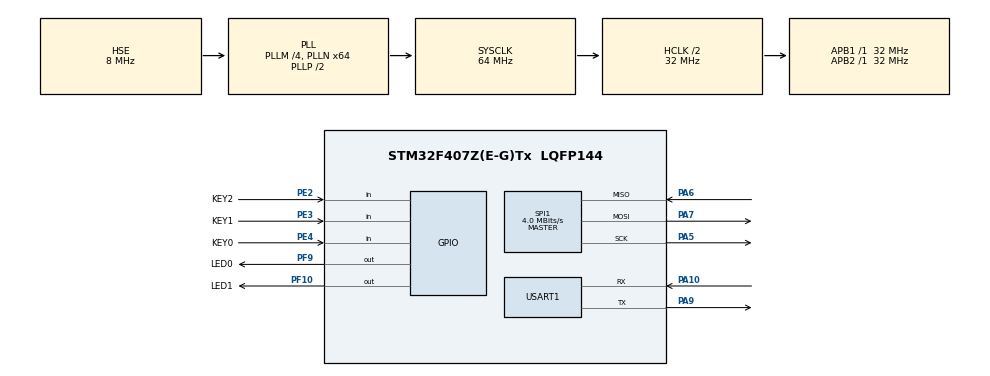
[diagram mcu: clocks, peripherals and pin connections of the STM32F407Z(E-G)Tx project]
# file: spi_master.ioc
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Dma.Request0=SPI1_TX
Dma.Request1=SPI1_RX
Dma.SPI1_RX.1.Direction=DMA_PERIPH_TO_MEMORY
Dma.SPI1_RX.1.FIFOMode=DMA_FIFOMODE_DISABLE
Dma.SPI1_RX.1.Instance=DMA2_Stream0
Dma.SPI1_RX.1.MemDataAlignment=DMA_MDATAALIGN_BYTE
Dma.SPI1_RX.1.MemInc=DMA_MINC_ENABLE
Dma.SPI1_RX.1.Mode=DMA_NORMAL
Dma.SPI1_RX.1.PeriphDataAlignment=DMA_PDATAALIGN_BYTE
Dma.SPI1_RX.1.PeriphInc=DMA_PINC_DISABLE
Dma.SPI1_RX.1.Priority=DMA_PRIORITY_LOW
Dma.SPI1_TX.0.Direction=DMA_MEMORY_TO_PERIPH
Dma.SPI1_TX.0.FIFOMode=DMA_FIFOMODE_DISABLE
Dma.SPI1_TX.0.Instance=DMA2_Stream3
Dma.SPI1_TX.0.MemDataAlignment=DMA_MDATAALIGN_BYTE
Dma.SPI1_TX.0.MemInc=DMA_MINC_ENABLE
Dma.SPI1_TX.0.Mode=DMA_NORMAL
Dma.SPI1_TX.0.PeriphDataAlignment=DMA_PDATAALIGN_BYTE
Dma.SPI1_TX.0.PeriphInc=DMA_PINC_DISABLE
Dma.SPI1_TX.0.Priority=DMA_PRIORITY_LOW
Mcu.Family=STM32F4
Mcu.Name=STM32F407Z(E-G)Tx
Mcu.Package=LQFP144
NVIC.DMA2_Stream0_IRQn=true\:0\:0\:false\:false\:true\:false\:true\:true
NVIC.DMA2_Stream3_IRQn=true\:0\:0\:false\:false\:true\:false\:true\:true
NVIC.PriorityGroup=NVIC_PRIORITYGROUP_4
PA10.Mode=Asynchronous
PA10.Signal=USART1_RX
PA13.Mode=Serial_Wire
PA13.Signal=SYS_JTMS-SWDIO
PA14.Mode=Serial_Wire
PA14.Signal=SYS_JTCK-SWCLK
PA5.Mode=Full_Duplex_Master
PA5.Signal=SPI1_SCK
PA6.Mode=Full_Duplex_Master
PA6.Signal=SPI1_MISO
PA7.Mode=Full_Duplex_Master
PA7.Signal=SPI1_MOSI
PA9.Mode=Asynchronous
PA9.Signal=USART1_TX
PE2.GPIO_Label=KEY2
PE2.GPIO_PuPd=GPIO_PULLUP
PE2.Signal=GPIO_Input
PE3.GPIO_Label=KEY1
PE3.GPIO_PuPd=GPIO_PULLUP
PE3.Signal=GPIO_Input
PE4.GPIO_Label=KEY0
PE4.GPIO_PuPd=GPIO_PULLUP
PE4.Signal=GPIO_Input
PF10.GPIO_Label=LED1
PF10.GPIO_PuPd=GPIO_PULLUP
PF10.PinState=GPIO_PIN_SET
PF10.Signal=GPIO_Output
PF9.GPIO_Label=LED0
PF9.GPIO_PuPd=GPIO_PULLUP
PF9.PinState=GPIO_PIN_SET
PF9.Signal=GPIO_Output
PH0-OSC_IN.Mode=HSE-External-Oscillator
PH0-OSC_IN.Signal=RCC_OSC_IN
PH1-OSC_OUT.Mode=HSE-External-Oscillator
PH1-OSC_OUT.Signal=RCC_OSC_OUT
ProjectManager.HeapSize=0x200
ProjectManager.StackSize=0x400
ProjectManager.TargetToolchain=EWARM V7
RCC.48MHZClocksFreq_Value=32000000
RCC.AHBCLKDivider=RCC_SYSCLK_DIV2
RCC.AHBFreq_Value=32000000
RCC.APB1Freq_Value=32000000
RCC.APB1TimFreq_Value=32000000
RCC.APB2Freq_Value=32000000
RCC.APB2TimFreq_Value=32000000
RCC.CortexFreq_Value=32000000
RCC.HCLKFreq_Value=32000000
RCC.HSE_VALUE=8000000
RCC.HSI_VALUE=16000000
RCC.LSE_VALUE=32768
RCC.PLLM=4
RCC.PLLN=64
RCC.PLLSourceVirtual=RCC_PLLSOURCE_HSE
RCC.SYSCLKFreq_VALUE=64000000
RCC.SYSCLKSource=RCC_SYSCLKSOURCE_PLLCLK
RCC.VCOOutputFreq_Value=128000000
SPI1.BaudRatePrescaler=SPI_BAUDRATEPRESCALER_8
SPI1.CalculateBaudRate=4.0 MBits/s
SPI1.Direction=SPI_DIRECTION_2LINES
SPI1.Mode=SPI_MODE_MASTER
SPI1.VirtualType=VM_MASTER
USART1.VirtualMode=VM_ASYNC
board=custom

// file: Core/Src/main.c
/* USER CODE BEGIN Header */
/**
  ******************************************************************************
  * @file           : main.c
  * @brief          : Main program body
  ******************************************************************************
  * @attention
  *
  * Copyright (c) 2026 STMicroelectronics.
  * All rights reserved.
  *
  * This software is licensed under terms that can be found in the LICENSE file
  * in the root directory of this software component.
  * If no LICENSE file comes with this software, it is provided AS-IS.
  *
  ******************************************************************************
  */
/* USER CODE END Header */
#include "main.h"
#include "dma.h"
#include "spi.h"
#include "usart.h"
#include "gpio.h"

/* USER CODE BEGIN Includes */
#include <stdio.h>
#include <string.h>
#include <stdlib.h>
#include "radio_hw_spi.h"
/* USER CODE END Includes */

/* USER CODE BEGIN PD */
#define ARM_CMD_IRQ_BIT   0x80000000U  /* write '1' to arm_cmd_0 bit31 -> pulse spi_mailbox_irq */
#define CONSOLE_LINE_MAX  32U
/* USER CODE END PD */

void SystemClock_Config(void);
/* USER CODE BEGIN PFP */
void radio_hw_console_poll(void);
/* USER CODE END PFP */

/* USER CODE BEGIN 0 */

/* Retarget printf to USART1 (PA9/PA10, 115200).
   - newlib (GCC / STM32CubeIDE): syscalls.c _write() calls __io_putchar().
   - IAR DLib: printf() calls __write(). */
int __io_putchar(int ch)
{
  HAL_UART_Transmit(&huart1, (uint8_t *)&ch, 1U, HAL_MAX_DELAY);
  return ch;
}

int __io_getchar(void)
{
  uint8_t ch = 0U;
  HAL_UART_Receive(&huart1, &ch, 1U, HAL_MAX_DELAY);
  return (int)ch;
}

/* IAR DLib low-level output: printf/fprintf route here. */
size_t __write(int handle, const unsigned char *buf, size_t bufSize)
{
  if (buf == 0)                       /* flush request */
    return 0U;

  if ((handle != 1) && (handle != 2)) /* stdout / stderr */
    return 0U;

  if (HAL_UART_Transmit(&huart1, (uint8_t *)buf, (uint16_t)bufSize,
                        HAL_MAX_DELAY) != HAL_OK)
    return 0U;

  return bufSize;
}

/* USER CODE END 0 */

int main(void)
{

  /* MCU Configuration--------------------------------------------------------*/

  /* Reset of all peripherals, Initializes the Flash interface and the Systick. */
  HAL_Init();

  /* Configure the system clock */
  SystemClock_Config();

  /* Initialize all configured peripherals */
  MX_GPIO_Init();
  MX_DMA_Init();
  MX_SPI1_Init();
  MX_USART1_UART_Init();
  /* USER CODE BEGIN 2 */

  /* Configure the software chip-select pin (PA4, idle high). */
  radio_hw_spi_init();

  /* Run the radio_hw register read/write self-test. */
  if (radio_hw_spi_self_test() == 0)
  {
    /* LED0 on = pass. */
    HAL_GPIO_WritePin(LED0_GPIO_Port, LED0_Pin, GPIO_PIN_RESET);
  }
  else
  {
    /* LED1 on = fail. */
    HAL_GPIO_WritePin(LED1_GPIO_Port, LED1_Pin, GPIO_PIN_RESET);
  }

  /* USER CODE END 2 */

  /* Infinite loop */
  while (1)
  {

    /* USER CODE BEGIN 3 */
#if 0
    radio_hw_console_poll();
#else
    radio_hw_spi_self_test();
    HAL_Delay(3000u);
    HAL_GPIO_TogglePin(LED0_GPIO_Port, LED0_Pin); // The SPI master is polling the ARM command registers.
#endif
  }
  /* USER CODE END 3 */
}

void SystemClock_Config(void)
{
  RCC_OscInitTypeDef RCC_OscInitStruct = {0};
  RCC_ClkInitTypeDef RCC_ClkInitStruct = {0};

  /** Configure the main internal regulator output voltage
  */
  __HAL_RCC_PWR_CLK_ENABLE();
  __HAL_PWR_VOLTAGESCALING_CONFIG(PWR_REGULATOR_VOLTAGE_SCALE1);

  /** Initializes the RCC Oscillators according to the specified parameters
  * in the RCC_OscInitTypeDef structure.
  */
  RCC_OscInitStruct.OscillatorType = RCC_OSCILLATORTYPE_HSE;
  RCC_OscInitStruct.HSEState = RCC_HSE_ON;
  RCC_OscInitStruct.PLL.PLLState = RCC_PLL_ON;
  RCC_OscInitStruct.PLL.PLLSource = RCC_PLLSOURCE_HSE;
  RCC_OscInitStruct.PLL.PLLM = 4;
  RCC_OscInitStruct.PLL.PLLN = 64;
  RCC_OscInitStruct.PLL.PLLP = RCC_PLLP_DIV2;
  RCC_OscInitStruct.PLL.PLLQ = 4;
  if (HAL_RCC_OscConfig(&RCC_OscInitStruct) != HAL_OK)
  {
    Error_Handler();
  }

  /** Initializes the CPU, AHB and APB buses clocks
  */
  RCC_ClkInitStruct.ClockType = RCC_CLOCKTYPE_HCLK|RCC_CLOCKTYPE_SYSCLK
                              |RCC_CLOCKTYPE_PCLK1|RCC_CLOCKTYPE_PCLK2;
  RCC_ClkInitStruct.SYSCLKSource = RCC_SYSCLKSOURCE_PLLCLK;
  RCC_ClkInitStruct.AHBCLKDivider = RCC_SYSCLK_DIV2;
  RCC_ClkInitStruct.APB1CLKDivider = RCC_HCLK_DIV1;
  RCC_ClkInitStruct.APB2CLKDivider = RCC_HCLK_DIV1;

  if (HAL_RCC_ClockConfig(&RCC_ClkInitStruct, FLASH_LATENCY_1) != HAL_OK)
  {
    Error_Handler();
  }
}

/* USER CODE BEGIN 4 */

/* Read one CR/LF-terminated line from USART1 with echo. */
static uint16_t console_read_line(uint8_t *buf, uint16_t max)
{
  uint16_t i = 0U;
  uint8_t ch;

  while (i < (max - 1U))
  {
    if (HAL_UART_Receive(&huart1, &ch, 1U, HAL_MAX_DELAY) != HAL_OK)
      break;

    if ((ch == '\r') || (ch == '\n'))
    {
      buf[i] = '\0';
      HAL_UART_Transmit(&huart1, (uint8_t *)"\r\n", 2U, HAL_MAX_DELAY);
      return i;
    }

    if ((ch == 0x08U) || (ch == 0x7FU))  /* backspace */
    {
      if (i > 0U) i--;
      continue;
    }

    buf[i++] = ch;
    HAL_UART_Transmit(&huart1, &ch, 1U, HAL_MAX_DELAY);  /* echo */
  }

  buf[i] = '\0';
  return i;
}

/* Match a command keyword followed by end-of-line or a space. */
static uint8_t console_keyword(const uint8_t *line, const char *kw)
{
  size_t n = strlen(kw);
  if (strncmp((const char *)line, kw, n) != 0)
    return 0U;
  return (line[n] == '\0') || (line[n] == ' ');
}

/* Poll USART1 for a command and act on it. Called from the main loop. */
void radio_hw_console_poll(void)
{
  uint8_t line[CONSOLE_LINE_MAX];
  uint32_t val;
  static uint32_t cmd_seq = 0U;   /* auto payload for a bare "cmd" */

  if (console_read_line(line, sizeof(line)) == 0U)
    return;

  if (console_keyword(line, "cmd"))
  {
    uint32_t payload = cmd_seq++;
    if (line[3] == ' ')
      payload = (uint32_t)strtoul((const char *)&line[4], NULL, 16);

    if (radio_hw_spi_write_reg(RADIO_HW_REG_ARM_CMD_0,
                               ARM_CMD_IRQ_BIT | payload) != HAL_OK)
      printf("[FAIL] arm_cmd_0 write error\n");
    else
      printf("arm_cmd_0 <- 0x%08X  (bit31 set -> ZC706 PS IRQ)\n",
             (unsigned int)(ARM_CMD_IRQ_BIT | payload));
  }
  else if (console_keyword(line, "read"))
  {
    uint16_t addr = 0U;
    if (line[4] == ' ')
      addr = (uint16_t)strtoul((const char *)&line[5], NULL, 16);

    if (radio_hw_spi_read_reg(addr, &val) == HAL_OK)
      printf("reg[0x%04X] = 0x%08X\n", (unsigned int)addr, (unsigned int)val);
    else
      printf("[FAIL] read reg error\n");
  }
  else if (console_keyword(line, "test"))
  {
    radio_hw_spi_self_test();
  }
  else if (console_keyword(line, "help") || line[0] == '?')
  {
    printf("commands:\n"
           "  cmd [hex]  write arm_cmd_0 (bit31 -> ZC706 PS IRQ)\n"
           "  read <hex> read a radio_hw register\n"
           "  test       re-run self-test\n"
           "  help       this list\n");
  }
  else
  {
    printf("unknown '%s' (type help)\n", (const char *)line);
  }
}

/* USER CODE END 4 */

void Error_Handler(void)
{
  __disable_irq();
  while (1)
  {
  }
}
